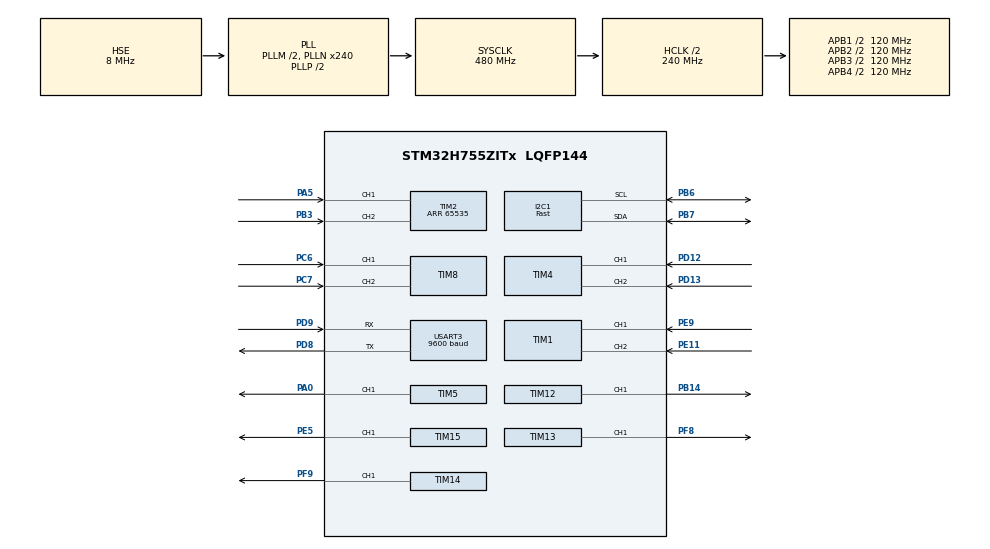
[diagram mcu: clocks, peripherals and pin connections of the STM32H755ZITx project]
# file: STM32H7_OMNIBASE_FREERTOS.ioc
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CortexM4.IPs=BDMA,CORTEX_M4\:I,DMA,FATFS_M4\:I,FREERTOS_M4\:I,GPIO,IWDG2\:I,MDMA,NVIC2\:I,OPENAMP_M4\:I,PDM2PCM_M4\:I,PWR,RCC,RESMGR_UTILITY,SYS_M4\:I,USB_DEVICE_M4\:I,USB_HOST_M4\:I,VREFBUF,WWDG2\:I,TIM7\:I
CortexM7.IPs=BDMA\:I,CORTEX_M7\:I,DMA\:I,FATFS_M7\:I,FREERTOS_M7\:I,GPIO\:I,IWDG1\:I,MDMA\:I,NVIC1\:I,OPENAMP_M7\:I,PDM2PCM_M7\:I,PWR\:I,RCC\:I,RESMGR_UTILITY\:I,SYS\:I,USB_DEVICE_M7\:I,USB_HOST_M7\:I,VREFBUF\:I,WWDG1\:I,USART3\:I,TIM1\:I,TIM2\:I,TIM4\:I,TIM5\:I,TIM8\:I,TIM12\:I,TIM13\:I,TIM14\:I,TIM15\:I,I2C1\:I,TIM6\:I
FREERTOS_M4.Queues01=UART_Rx,4,uint16_t,0,Dynamic,NULL,NULL;PWM_vals,4,uint16_t,0,Dynamic,NULL,NULL
FREERTOS_M4.Tasks01=defaultTask,24,128,StartDefaultTask,Default,NULL,Dynamic,NULL,NULL;Encoders,25,256,StartEncoders,Default,NULL,Dynamic,NULL,NULL;UART3,41,128,StartUART3,Default,NULL,Dynamic,NULL,NULL;PIDs,8,256,StartPIDs,Default,NULL,Dynamic,NULL,NULL;myPWMset,8,256,StartPWMset,Default,NULL,Dynamic,NULL,NULL
FREERTOS_M4.configUSE_NEWLIB_REENTRANT=1
FREERTOS_M7.Mutexes01=MutexUART_Data,Dynamic,NULL,Available
FREERTOS_M7.Queues01=UART_Queue,10,double,0,Dynamic,NULL,NULL
FREERTOS_M7.Tasks01=defaultTask,24,128,StartDefaultTask,Default,NULL,Dynamic,NULL,NULL;UART_RX_Task,40,256,start_UART_RX_Task,Default,NULL,Dynamic,NULL,NULL;UART_TX_Task,24,256,Start_UART_TX_Task,Default,NULL,Dynamic,NULL,NULL;ControlTask,32,256,StartControlTask,Default,NULL,Dynamic,NULL,NULL
FREERTOS_M7.configUSE_NEWLIB_REENTRANT=1
I2C1.I2C_Speed_Mode=I2C_Fast
I2C1.Timing=0x00B03FDB
Mcu.Family=STM32H7
Mcu.Name=STM32H755ZITx
Mcu.Package=LQFP144
NVIC1.PriorityGroup=NVIC_PRIORITYGROUP_4
NVIC1.TIM6_DAC_IRQn=true\:15\:0\:false\:false\:true\:false\:false\:true\:true
NVIC1.TimeBase=TIM6_DAC_IRQn
NVIC1.TimeBaseIP=TIM6
NVIC1.USART3_IRQn=true\:5\:0\:false\:false\:true\:true\:true\:true\:true
NVIC2.PriorityGroup=NVIC_PRIORITYGROUP_4
NVIC2.TIM7_IRQn=true\:15\:0\:false\:false\:true\:false\:false\:true\:true
NVIC2.TimeBase=TIM7_IRQn
NVIC2.TimeBaseIP=TIM7
PA0.PinAttribute=CortexM7
PA0.Signal=S_TIM5_CH1
PA5.PinAttribute=CortexM7
PA5.Signal=S_TIM2_CH1_ETR
PB14.PinAttribute=CortexM7
PB14.Signal=S_TIM12_CH1
PB3\ (JTDO/TRACESWO).PinAttribute=CortexM7
PB3\ (JTDO/TRACESWO).Signal=S_TIM2_CH2
PB6.Mode=I2C
PB6.PinAttribute=CortexM7
PB6.Signal=I2C1_SCL
PB7.Mode=I2C
PB7.PinAttribute=CortexM7
PB7.Signal=I2C1_SDA
PC6.PinAttribute=CortexM7
PC6.Signal=S_TIM8_CH1
PC7.PinAttribute=CortexM7
PC7.Signal=S_TIM8_CH2
PD12.PinAttribute=CortexM7
PD12.Signal=S_TIM4_CH1
PD13.PinAttribute=CortexM7
PD13.Signal=S_TIM4_CH2
PD8.Mode=Asynchronous
PD8.PinAttribute=CortexM7
PD8.Signal=USART3_TX
PD9.Mode=Asynchronous
PD9.PinAttribute=CortexM7
PD9.Signal=USART3_RX
PE11.PinAttribute=CortexM7
PE11.Signal=S_TIM1_CH2
PE5.PinAttribute=CortexM7
PE5.Signal=S_TIM15_CH1
PE9.PinAttribute=CortexM7
PE9.Signal=S_TIM1_CH1
PF8.PinAttribute=CortexM7
PF8.Signal=S_TIM13_CH1
PF9.PinAttribute=CortexM7
PF9.Signal=S_TIM14_CH1
PH0-OSC_IN\ (PH0).Mode=HSE-External-Oscillator
PH0-OSC_IN\ (PH0).PinAttribute=Free
PH0-OSC_IN\ (PH0).Signal=RCC_OSC_IN
PH1-OSC_OUT\ (PH1).Mode=HSE-External-Oscillator
PH1-OSC_OUT\ (PH1).PinAttribute=Free
PH1-OSC_OUT\ (PH1).Signal=RCC_OSC_OUT
ProjectManager.HeapSize=M4-0x200,M7-0x200
ProjectManager.StackSize=M4-0x400,M7-0x400
ProjectManager.TargetToolchain=STM32CubeIDE
RCC.ADCFreq_Value=16125000
RCC.APB1Freq_Value=120000000
RCC.APB2Freq_Value=120000000
RCC.APB3Freq_Value=120000000
RCC.APB4Freq_Value=120000000
RCC.CortexFreq_Value=480000000
RCC.D1PPRE=RCC_APB3_DIV2
RCC.D2PPRE1=RCC_APB1_DIV2
RCC.D2PPRE2=RCC_APB2_DIV2
RCC.D3PPRE=RCC_APB4_DIV2
RCC.DIVM1=2
RCC.DIVN1=240
RCC.HCLKFreq_Value=240000000
RCC.HPRE=RCC_HCLK_DIV2
RCC.HSE_VALUE=8000000
RCC.PLL1_VCI_Range-AdvancedSettings=RCC_PLL1VCIRANGE_0
RCC.PLLSourceVirtual=RCC_PLLSOURCE_HSE
RCC.SYSCLKFreq_VALUE=480000000
RCC.SYSCLKSource=RCC_SYSCLKSOURCE_PLLCLK
RCC.USBFreq_Value=480000000
SH.S_TIM12_CH1.0=TIM12_CH1,PWM Generation1 CH1
SH.S_TIM13_CH1.0=TIM13_CH1,PWM Generation1 CH1
SH.S_TIM14_CH1.0=TIM14_CH1,PWM Generation1 CH1
SH.S_TIM15_CH1.0=TIM15_CH1,PWM Generation1 CH1
SH.S_TIM1_CH1.0=TIM1_CH1,Encoder_Interface
SH.S_TIM1_CH2.0=TIM1_CH2,Encoder_Interface
SH.S_TIM2_CH1_ETR.0=TIM2_CH1,Encoder_Interface
SH.S_TIM2_CH2.0=TIM2_CH2,Encoder_Interface
SH.S_TIM4_CH1.0=TIM4_CH1,Encoder_Interface
SH.S_TIM4_CH2.0=TIM4_CH2,Encoder_Interface
SH.S_TIM5_CH1.0=TIM5_CH1,PWM Generation1 CH1
SH.S_TIM8_CH1.0=TIM8_CH1,Encoder_Interface
SH.S_TIM8_CH2.0=TIM8_CH2,Encoder_Interface
SYS.userName=SYS_M7
TIM1.EncoderMode=TIM_ENCODERMODE_TI12
TIM12.Channel-PWM\ Generation1\ CH1=TIM_CHANNEL_1
TIM12.Period=19999
TIM12.Prescaler=239
TIM13.Channel=TIM_CHANNEL_1
TIM13.Prescaler=239
TIM14.Channel=TIM_CHANNEL_1
TIM14.OCFastMode_PWM=TIM_OCFAST_DISABLE
TIM14.Period=19999
TIM14.Prescaler=239
TIM15.Channel-PWM\ Generation1\ CH1=TIM_CHANNEL_1
TIM15.Period=19999
TIM15.Prescaler=239
TIM2.EncoderMode=TIM_ENCODERMODE_TI12
TIM2.Period=65535
TIM4.EncoderMode=TIM_ENCODERMODE_TI12
TIM5.Channel-PWM\ Generation1\ CH1=TIM_CHANNEL_1
TIM5.Period=19999
TIM5.Prescaler=239
TIM8.EncoderMode=TIM_ENCODERMODE_TI12
USART3.BaudRate=9600
USART3.VirtualMode-Asynchronous=VM_ASYNC
VP_FREERTOS_M4_VS_CMSIS_V2.Mode=CMSIS_V2
VP_FREERTOS_M7_VS_CMSIS_V2.Mode=CMSIS_V2
VP_SYS_M4_VS_tim7.Mode=TIM7
VP_SYS_VS_tim6.Mode=TIM6
VP_TIM12_VS_ClockSourceINT.Mode=Internal
VP_TIM13_VS_ClockSourceINT.Mode=Enable_Timer
VP_TIM14_VS_ClockSourceINT.Mode=Enable_Timer
board=custom

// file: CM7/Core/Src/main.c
/* USER CODE BEGIN Header */
/**
  ******************************************************************************
  * @file           : main.c
  * @brief          : Main program body
  ******************************************************************************
  * @attention
  *
  * Copyright (c) 2025 STMicroelectronics.
  * All rights reserved.
  *
  * This software is licensed under terms that can be found in the LICENSE file
  * in the root directory of this software component.
  * If no LICENSE file comes with this software, it is provided AS-IS.
  *
  ******************************************************************************
  */
/* USER CODE END Header */
#include "main.h"
#include "cmsis_os.h"

/* USER CODE BEGIN Includes */
#include <stdio.h>
#include <stdlib.h>
#include <math.h>
#include "bno055_stm32.h"
#include "uart_rx.h"
#include <string.h>
/* USER CODE END Includes */

/* USER CODE BEGIN PD */

#ifndef HSEM_ID_0
#define HSEM_ID_0 (0U) /* HW semaphore 0*/
#endif

/* USER CODE END PD */

I2C_HandleTypeDef hi2c1;

TIM_HandleTypeDef htim1;
TIM_HandleTypeDef htim2;
TIM_HandleTypeDef htim4;
TIM_HandleTypeDef htim5;
TIM_HandleTypeDef htim8;
TIM_HandleTypeDef htim12;
TIM_HandleTypeDef htim13;
TIM_HandleTypeDef htim14;
TIM_HandleTypeDef htim15;

UART_HandleTypeDef huart3;

/* Definitions for defaultTask */
osThreadId_t defaultTaskHandle;
const osThreadAttr_t defaultTask_attributes = {
  .name = "defaultTask",
  .stack_size = 128 * 1,
  .priority = (osPriority_t) osPriorityNormal,
};
/* Definitions for UART_RX_Task */
osThreadId_t UART_RX_TaskHandle;
const osThreadAttr_t UART_RX_Task_attributes = {
  .name = "UART_RX_Task",
  .stack_size = 256 * 12,
  .priority = (osPriority_t) osPriorityHigh,
};
/* Definitions for UART_TX_Task */
osThreadId_t UART_TX_TaskHandle;
const osThreadAttr_t UART_TX_Task_attributes = {
  .name = "UART_TX_Task",
  .stack_size = 256 * 8,
  .priority = (osPriority_t) osPriorityNormal,
};
/* Definitions for ControlTask */
osThreadId_t ControlTaskHandle;
const osThreadAttr_t ControlTask_attributes = {
  .name = "ControlTask",
  .stack_size = 256 * 20,
  .priority = (osPriority_t) osPriorityAboveNormal,
};
/* Definitions for UART_Queue */
osMessageQueueId_t UART_QueueHandle;
const osMessageQueueAttr_t UART_Queue_attributes = {
  .name = "UART_Queue"
};
/* Definitions for MutexUART_Data */
osMutexId_t MutexUART_DataHandle;
const osMutexAttr_t MutexUART_Data_attributes = {
  .name = "MutexUART_Data"
};
/* USER CODE BEGIN PV */
osMessageQueueId_t CtrlTsk_QueueHandle;
const osMessageQueueAttr_t CtrlTsk_Queue_attributes = {
  .name = "ControlTask_Queue"
};

osMessageQueueId_t UART2CtrlTsk_QueueHandle;
const osMessageQueueAttr_t UART2CtrlTsk_Queue_attributes = {
  .name = "UART2ControlTask_Queue"
};

osMessageQueueId_t UART2KPIDs_QueueHandle;
const osMessageQueueAttr_t UART2KPIDs_Queue_attributes = {
  .name = "UART2KPIDs_Queue"
};

osMessageQueueId_t kpids_UART_TX_QueueHandle;
const osMessageQueueAttr_t kpids_UART_TX_Queue_attributes = {
  .name = "kpids_UART_TX_Queue"
};
/* USER CODE END PV */

void SystemClock_Config(void);
static void MX_GPIO_Init(void);
static void MX_USART3_UART_Init(void);
static void MX_TIM1_Init(void);
static void MX_TIM2_Init(void);
static void MX_TIM4_Init(void);
static void MX_TIM5_Init(void);
static void MX_TIM8_Init(void);
static void MX_TIM12_Init(void);
static void MX_TIM13_Init(void);
static void MX_TIM14_Init(void);
static void MX_TIM15_Init(void);
static void MX_I2C1_Init(void);
void StartDefaultTask(void *argument);
void start_UART_RX_Task(void *argument);
void Start_UART_TX_Task(void *argument);
void StartControlTask(void *argument);

/* USER CODE BEGIN 0 */
int16_t computeDeltaCNT(uint16_t current, uint16_t previous) {
	int16_t delta = (int16_t)(current - previous);
	if (delta > 32767) delta -= 65536;
	else if (delta < -32767) delta += 65536;
	return delta;
}

void setMotorDirection(GPIO_TypeDef *port, uint16_t pin1, uint16_t pin2, uint8_t dir) {
	if (dir < 2) {
		dir ? (port->ODR |= (1 << pin1)) : (port->ODR &= ~(1 << pin1));
		!dir ? (port->ODR |= (1 << pin2)) : (port->ODR &= ~(1 << pin2));
	} else {
		port->ODR &= ~(1 << pin1);
		port->ODR &= ~(1 << pin2);
	}
}

int computeNecessaryWheelSpeeds(double phi, double d, double r, double u[4], double phi_dot, double y_dot, double x_dot) {
	u[0] = (d * phi_dot + y_dot * cos(phi) - x_dot * sin(phi)) / r;
    u[1] = (d * phi_dot - x_dot * cos(phi) - y_dot * sin(phi)) / r;
    u[2] = (d * phi_dot - y_dot * cos(phi) + x_dot * sin(phi)) / r;
    u[3] = (d * phi_dot + x_dot * cos(phi) + y_dot * sin(phi)) / r;

    return 0;
}

int globalSpeedsFromU(double phi, double d, double r, double u[4], double q_dot[3]) {
    q_dot[0] = (u[0] + u[1] + u[2] + u[3]) / (4 * d); // Angular velocity
    q_dot[1] = -cos(phi)*((u[1] - u[3])/2) - sin(phi)*((u[0] - u[2])/2); // X velocity
    q_dot[2] = cos(phi)*((u[0] - u[2])/2) - sin(phi)*((u[1] - u[3])/2); // Y velocity

    return 0;
}

//double checkFloatRx( uint8_t floatRx[], uint8_t floatRx_size){
//	double receivedFloat = 0;
//	float pi = 3.141592;
//
//	if (floatRx[0] == 'p' && floatRx[1] == 'i'){
//		receivedFloat = pi;
//	}
//	for (int i = 0; i < floatRx_size; i++) {
//
//	}
//}

//const float tau = 0.05f;
//float alpha = dt / (tau + dt);
//filteredSpeed = alpha * measuredSpeed + (1.0f - alpha) * filteredSpeed;

/* USER CODE END 0 */

int main(void)
{

/* USER CODE BEGIN Boot_Mode_Sequence_0 */
  int32_t timeout;
/* USER CODE END Boot_Mode_Sequence_0 */

/* USER CODE BEGIN Boot_Mode_Sequence_1 */
  /* Wait until CPU2 boots and enters in stop mode or timeout*/
  timeout = 0xFFFF;
  while((__HAL_RCC_GET_FLAG(RCC_FLAG_D2CKRDY) != RESET) && (timeout-- > 0));
  if ( timeout < 0 )
  {
  Error_Handler();
  }
/* USER CODE END Boot_Mode_Sequence_1 */
  /* MCU Configuration--------------------------------------------------------*/

  /* Reset of all peripherals, Initializes the Flash interface and the Systick. */
  HAL_Init();

  /* USER CODE BEGIN Init */
  setvbuf(stdin, NULL, _IONBF, 0);
  /* USER CODE END Init */

  /* Configure the system clock */
  SystemClock_Config();
/* USER CODE BEGIN Boot_Mode_Sequence_2 */
/* When system initialization is finished, Cortex-M7 will release Cortex-M4 by means of
HSEM notification */
/*HW semaphore Clock enable*/
__HAL_RCC_HSEM_CLK_ENABLE();
/*Take HSEM */
HAL_HSEM_FastTake(HSEM_ID_0);
/*Release HSEM in order to notify the CPU2(CM4)*/
HAL_HSEM_Release(HSEM_ID_0,0);
/* wait until CPU2 wakes up from stop mode */
timeout = 0xFFFF;
while((__HAL_RCC_GET_FLAG(RCC_FLAG_D2CKRDY) == RESET) && (timeout-- > 0));
if ( timeout < 0 )
{
Error_Handler();
}
/* USER CODE END Boot_Mode_Sequence_2 */

  /* Initialize all configured peripherals */
  MX_GPIO_Init();
  MX_USART3_UART_Init();
  MX_TIM1_Init();
  MX_TIM2_Init();
  MX_TIM4_Init();
  MX_TIM5_Init();
  MX_TIM8_Init();
  MX_TIM12_Init();
  MX_TIM13_Init();
  MX_TIM14_Init();
  MX_TIM15_Init();
  MX_I2C1_Init();
  /* USER CODE BEGIN 2 */

  uint8_t allOK = 1;
  if (HAL_TIM_Encoder_Start(&htim1, TIM_CHANNEL_ALL) != HAL_OK) {
  	  printf("tim1 fail\n\r");
  	  allOK = 0;
  }
  if (HAL_TIM_Encoder_Start_IT(&htim2, TIM_CHANNEL_ALL) != HAL_OK) {
	  printf("tim2 fail\n\r");
	  allOK = 0;
  }
  if (HAL_TIM_Encoder_Start_IT(&htim4, TIM_CHANNEL_ALL) != HAL_OK) {
	  printf("tim4 fail\n\r");
	  allOK = 0;
  }
  if (HAL_TIM_Encoder_Start(&htim8, TIM_CHANNEL_ALL) != HAL_OK) {
	  printf("tim8 fail\n\r");
	  allOK = 0;
  }

  if (HAL_TIM_PWM_Start(&htim5, TIM_CHANNEL_1) != HAL_OK)
  {
  	  printf("tim5 fail\r\n");
  	  allOK = 0;
  	  Error_Handler();
  }

  if (HAL_TIM_PWM_Start(&htim12, TIM_CHANNEL_1) != HAL_OK)
  {
  	  printf("tim12 fail\r\n");
  	  allOK = 0;
  	  Error_Handler();
  }
  if (HAL_TIM_PWM_Start(&htim14, TIM_CHANNEL_1) != HAL_OK)
  {
      printf("tim14 fail\r\n");
      allOK = 0;
  	  Error_Handler();
  }
  if (HAL_TIM_PWM_Start(&htim15, TIM_CHANNEL_1) != HAL_OK)
  {
  	  printf("tim3 fail\r\n");
  	  allOK = 0;
  	  Error_Handler();
  }

  if (!allOK) {
	  printf(" El diablo \r\n\n\n\n\n\n\n");
//  } else {
//	  printf("TODO BN\r\n");
  }

  /* USER CODE END 2 */

  /* Init scheduler */
  osKernelInitialize();
  /* Create the mutex(es) */
  /* creation of MutexUART_Data */
  MutexUART_DataHandle = osMutexNew(&MutexUART_Data_attributes);

  /* Create the queue(s) */
  /* creation of UART_Queue */

  /* USER CODE BEGIN RTOS_QUEUES */
  /* add queues, ... */
  UART_QueueHandle = osMessageQueueNew (3, sizeof(InputData), &UART_Queue_attributes);
  UART2CtrlTsk_QueueHandle = osMessageQueueNew (3, sizeof(InputData), &UART2CtrlTsk_Queue_attributes);
  CtrlTsk_QueueHandle = osMessageQueueNew (3, sizeof(CtrlTsk_Data), &CtrlTsk_Queue_attributes);
  UART2KPIDs_QueueHandle = osMessageQueueNew (3, sizeof(PIDConfig), &UART2KPIDs_Queue_attributes);
  kpids_UART_TX_QueueHandle = osMessageQueueNew (3, sizeof(PIDConfig), &kpids_UART_TX_Queue_attributes);
  /* USER CODE END RTOS_QUEUES */

  /* Create the thread(s) */
  /* creation of defaultTask */
  defaultTaskHandle = osThreadNew(StartDefaultTask, NULL, &defaultTask_attributes);

  /* creation of UART_RX_Task */
  UART_RX_TaskHandle = osThreadNew(start_UART_RX_Task, NULL, &UART_RX_Task_attributes);

  /* creation of UART_TX_Task */
  UART_TX_TaskHandle = osThreadNew(Start_UART_TX_Task, NULL, &UART_TX_Task_attributes);

  /* creation of ControlTask */
  ControlTaskHandle = osThreadNew(StartControlTask, NULL, &ControlTask_attributes);

  /* Start scheduler */
  osKernelStart();

  /* We should never get here as control is now taken by the scheduler */

  /* Infinite loop */
  while (1)
  {

  }
}

void SystemClock_Config(void)
{
  RCC_OscInitTypeDef RCC_OscInitStruct = {0};
  RCC_ClkInitTypeDef RCC_ClkInitStruct = {0};

  /** Supply configuration update enable
  */
  HAL_PWREx_ConfigSupply(PWR_DIRECT_SMPS_SUPPLY);

  /** Configure the main internal regulator output voltage
  */
  __HAL_PWR_VOLTAGESCALING_CONFIG(PWR_REGULATOR_VOLTAGE_SCALE1);

  while(!__HAL_PWR_GET_FLAG(PWR_FLAG_VOSRDY)) {}

  __HAL_RCC_SYSCFG_CLK_ENABLE();
  __HAL_PWR_VOLTAGESCALING_CONFIG(PWR_REGULATOR_VOLTAGE_SCALE0);

  while(!__HAL_PWR_GET_FLAG(PWR_FLAG_VOSRDY)) {}

  /** Initializes the RCC Oscillators according to the specified parameters
  * in the RCC_OscInitTypeDef structure.
  */
  RCC_OscInitStruct.OscillatorType = RCC_OSCILLATORTYPE_HSE;
  RCC_OscInitStruct.HSEState = RCC_HSE_ON;
  RCC_OscInitStruct.PLL.PLLState = RCC_PLL_ON;
  RCC_OscInitStruct.PLL.PLLSource = RCC_PLLSOURCE_HSE;
  RCC_OscInitStruct.PLL.PLLM = 2;
  RCC_OscInitStruct.PLL.PLLN = 240;
  RCC_OscInitStruct.PLL.PLLP = 2;
  RCC_OscInitStruct.PLL.PLLQ = 2;
  RCC_OscInitStruct.PLL.PLLR = 2;
  RCC_OscInitStruct.PLL.PLLRGE = RCC_PLL1VCIRANGE_2;
  RCC_OscInitStruct.PLL.PLLVCOSEL = RCC_PLL1VCOWIDE;
  RCC_OscInitStruct.PLL.PLLFRACN = 0;
  if (HAL_RCC_OscConfig(&RCC_OscInitStruct) != HAL_OK)
  {
    Error_Handler();
  }

  /** Initializes the CPU, AHB and APB buses clocks
  */
  RCC_ClkInitStruct.ClockType = RCC_CLOCKTYPE_HCLK|RCC_CLOCKTYPE_SYSCLK
                              |RCC_CLOCKTYPE_PCLK1|RCC_CLOCKTYPE_PCLK2
                              |RCC_CLOCKTYPE_D3PCLK1|RCC_CLOCKTYPE_D1PCLK1;
  RCC_ClkInitStruct.SYSCLKSource = RCC_SYSCLKSOURCE_PLLCLK;
  RCC_ClkInitStruct.SYSCLKDivider = RCC_SYSCLK_DIV1;
  RCC_ClkInitStruct.AHBCLKDivider = RCC_HCLK_DIV2;
  RCC_ClkInitStruct.APB3CLKDivider = RCC_APB3_DIV2;
  RCC_ClkInitStruct.APB1CLKDivider = RCC_APB1_DIV2;
  RCC_ClkInitStruct.APB2CLKDivider = RCC_APB2_DIV2;
  RCC_ClkInitStruct.APB4CLKDivider = RCC_APB4_DIV2;

  if (HAL_RCC_ClockConfig(&RCC_ClkInitStruct, FLASH_LATENCY_4) != HAL_OK)
  {
    Error_Handler();
  }
}

static void MX_I2C1_Init(void)
{

  hi2c1.Instance = I2C1;
  hi2c1.Init.Timing = 0x00B03FDB;
  hi2c1.Init.OwnAddress1 = 0;
  hi2c1.Init.AddressingMode = I2C_ADDRESSINGMODE_7BIT;
  hi2c1.Init.DualAddressMode = I2C_DUALADDRESS_DISABLE;
  hi2c1.Init.OwnAddress2 = 0;
  hi2c1.Init.OwnAddress2Masks = I2C_OA2_NOMASK;
  hi2c1.Init.GeneralCallMode = I2C_GENERALCALL_DISABLE;
  hi2c1.Init.NoStretchMode = I2C_NOSTRETCH_DISABLE;
  if (HAL_I2C_Init(&hi2c1) != HAL_OK)
  {
    Error_Handler();
  }

  /** Configure Analogue filter
  */
  if (HAL_I2CEx_ConfigAnalogFilter(&hi2c1, I2C_ANALOGFILTER_ENABLE) != HAL_OK)
  {
    Error_Handler();
  }

  /** Configure Digital filter
  */
  if (HAL_I2CEx_ConfigDigitalFilter(&hi2c1, 0) != HAL_OK)
  {
    Error_Handler();
  }

}

static void MX_TIM1_Init(void)
{

  TIM_Encoder_InitTypeDef sConfig = {0};
  TIM_MasterConfigTypeDef sMasterConfig = {0};

  htim1.Instance = TIM1;
  htim1.Init.Prescaler = 0;
  htim1.Init.CounterMode = TIM_COUNTERMODE_UP;
  htim1.Init.Period = 65535;
  htim1.Init.ClockDivision = TIM_CLOCKDIVISION_DIV1;
  htim1.Init.RepetitionCounter = 0;
  htim1.Init.AutoReloadPreload = TIM_AUTORELOAD_PRELOAD_DISABLE;
  sConfig.EncoderMode = TIM_ENCODERMODE_TI12;
  sConfig.IC1Polarity = TIM_ICPOLARITY_RISING;
  sConfig.IC1Selection = TIM_ICSELECTION_DIRECTTI;
  sConfig.IC1Prescaler = TIM_ICPSC_DIV1;
  sConfig.IC1Filter = 0;
  sConfig.IC2Polarity = TIM_ICPOLARITY_RISING;
  sConfig.IC2Selection = TIM_ICSELECTION_DIRECTTI;
  sConfig.IC2Prescaler = TIM_ICPSC_DIV1;
  sConfig.IC2Filter = 0;
  if (HAL_TIM_Encoder_Init(&htim1, &sConfig) != HAL_OK)
  {
    Error_Handler();
  }
  sMasterConfig.MasterOutputTrigger = TIM_TRGO_RESET;
  sMasterConfig.MasterOutputTrigger2 = TIM_TRGO2_RESET;
  sMasterConfig.MasterSlaveMode = TIM_MASTERSLAVEMODE_DISABLE;
  if (HAL_TIMEx_MasterConfigSynchronization(&htim1, &sMasterConfig) != HAL_OK)
  {
    Error_Handler();
  }

}

static void MX_TIM2_Init(void)
{

  TIM_Encoder_InitTypeDef sConfig = {0};
  TIM_MasterConfigTypeDef sMasterConfig = {0};

  htim2.Instance = TIM2;
  htim2.Init.Prescaler = 0;
  htim2.Init.CounterMode = TIM_COUNTERMODE_UP;
  htim2.Init.Period = 65535;
  htim2.Init.ClockDivision = TIM_CLOCKDIVISION_DIV1;
  htim2.Init.AutoReloadPreload = TIM_AUTORELOAD_PRELOAD_DISABLE;
  sConfig.EncoderMode = TIM_ENCODERMODE_TI12;
  sConfig.IC1Polarity = TIM_ICPOLARITY_RISING;
  sConfig.IC1Selection = TIM_ICSELECTION_DIRECTTI;
  sConfig.IC1Prescaler = TIM_ICPSC_DIV1;
  sConfig.IC1Filter = 0;
  sConfig.IC2Polarity = TIM_ICPOLARITY_RISING;
  sConfig.IC2Selection = TIM_ICSELECTION_DIRECTTI;
  sConfig.IC2Prescaler = TIM_ICPSC_DIV1;
  sConfig.IC2Filter = 0;
  if (HAL_TIM_Encoder_Init(&htim2, &sConfig) != HAL_OK)
  {
    Error_Handler();
  }
  sMasterConfig.MasterOutputTrigger = TIM_TRGO_RESET;
  sMasterConfig.MasterSlaveMode = TIM_MASTERSLAVEMODE_DISABLE;
  if (HAL_TIMEx_MasterConfigSynchronization(&htim2, &sMasterConfig) != HAL_OK)
  {
    Error_Handler();
  }

}

static void MX_TIM4_Init(void)
{

  TIM_Encoder_InitTypeDef sConfig = {0};
  TIM_MasterConfigTypeDef sMasterConfig = {0};

  htim4.Instance = TIM4;
  htim4.Init.Prescaler = 0;
  htim4.Init.CounterMode = TIM_COUNTERMODE_UP;
  htim4.Init.Period = 65535;
  htim4.Init.ClockDivision = TIM_CLOCKDIVISION_DIV1;
  htim4.Init.AutoReloadPreload = TIM_AUTORELOAD_PRELOAD_DISABLE;
  sConfig.EncoderMode = TIM_ENCODERMODE_TI12;
  sConfig.IC1Polarity = TIM_ICPOLARITY_RISING;
  sConfig.IC1Selection = TIM_ICSELECTION_DIRECTTI;
  sConfig.IC1Prescaler = TIM_ICPSC_DIV1;
  sConfig.IC1Filter = 0;
  sConfig.IC2Polarity = TIM_ICPOLARITY_RISING;
  sConfig.IC2Selection = TIM_ICSELECTION_DIRECTTI;
  sConfig.IC2Prescaler = TIM_ICPSC_DIV1;
  sConfig.IC2Filter = 0;
  if (HAL_TIM_Encoder_Init(&htim4, &sConfig) != HAL_OK)
  {
    Error_Handler();
  }
  sMasterConfig.MasterOutputTrigger = TIM_TRGO_RESET;
  sMasterConfig.MasterSlaveMode = TIM_MASTERSLAVEMODE_DISABLE;
  if (HAL_TIMEx_MasterConfigSynchronization(&htim4, &sMasterConfig) != HAL_OK)
  {
    Error_Handler();
  }

}

static void MX_TIM5_Init(void)
{

  TIM_MasterConfigTypeDef sMasterConfig = {0};
  TIM_OC_InitTypeDef sConfigOC = {0};

  htim5.Instance = TIM5;
  htim5.Init.Prescaler = 239;
  htim5.Init.CounterMode = TIM_COUNTERMODE_UP;
  htim5.Init.Period = 19999;
  htim5.Init.ClockDivision = TIM_CLOCKDIVISION_DIV1;
  htim5.Init.AutoReloadPreload = TIM_AUTORELOAD_PRELOAD_DISABLE;
  if (HAL_TIM_PWM_Init(&htim5) != HAL_OK)
  {
    Error_Handler();
  }
  sMasterConfig.MasterOutputTrigger = TIM_TRGO_RESET;
  sMasterConfig.MasterSlaveMode = TIM_MASTERSLAVEMODE_DISABLE;
  if (HAL_TIMEx_MasterConfigSynchronization(&htim5, &sMasterConfig) != HAL_OK)
  {
    Error_Handler();
  }
  sConfigOC.OCMode = TIM_OCMODE_PWM1;
  sConfigOC.Pulse = 0;
  sConfigOC.OCPolarity = TIM_OCPOLARITY_HIGH;
  sConfigOC.OCFastMode = TIM_OCFAST_DISABLE;
  if (HAL_TIM_PWM_ConfigChannel(&htim5, &sConfigOC, TIM_CHANNEL_1) != HAL_OK)
  {
    Error_Handler();
  }
  HAL_TIM_MspPostInit(&htim5);

}

static void MX_TIM8_Init(void)
{

  TIM_Encoder_InitTypeDef sConfig = {0};
  TIM_MasterConfigTypeDef sMasterConfig = {0};

  htim8.Instance = TIM8;
  htim8.Init.Prescaler = 0;
  htim8.Init.CounterMode = TIM_COUNTERMODE_UP;
  htim8.Init.Period = 65535;
  htim8.Init.ClockDivision = TIM_CLOCKDIVISION_DIV1;
  htim8.Init.RepetitionCounter = 0;
  htim8.Init.AutoReloadPreload = TIM_AUTORELOAD_PRELOAD_DISABLE;
  sConfig.EncoderMode = TIM_ENCODERMODE_TI12;
  sConfig.IC1Polarity = TIM_ICPOLARITY_RISING;
  sConfig.IC1Selection = TIM_ICSELECTION_DIRECTTI;
  sConfig.IC1Prescaler = TIM_ICPSC_DIV1;
  sConfig.IC1Filter = 0;
  sConfig.IC2Polarity = TIM_ICPOLARITY_RISING;
  sConfig.IC2Selection = TIM_ICSELECTION_DIRECTTI;
  sConfig.IC2Prescaler = TIM_ICPSC_DIV1;
  sConfig.IC2Filter = 0;
  if (HAL_TIM_Encoder_Init(&htim8, &sConfig) != HAL_OK)
  {
    Error_Handler();
  }
  sMasterConfig.MasterOutputTrigger = TIM_TRGO_RESET;
  sMasterConfig.MasterOutputTrigger2 = TIM_TRGO2_RESET;
  sMasterConfig.MasterSlaveMode = TIM_MASTERSLAVEMODE_DISABLE;
  if (HAL_TIMEx_MasterConfigSynchronization(&htim8, &sMasterConfig) != HAL_OK)
  {
    Error_Handler();
  }

}

static void MX_TIM12_Init(void)
{

  TIM_ClockConfigTypeDef sClockSourceConfig = {0};
  TIM_MasterConfigTypeDef sMasterConfig = {0};
  TIM_OC_InitTypeDef sConfigOC = {0};

  htim12.Instance = TIM12;
  htim12.Init.Prescaler = 239;
  htim12.Init.CounterMode = TIM_COUNTERMODE_UP;
  htim12.Init.Period = 19999;
  htim12.Init.ClockDivision = TIM_CLOCKDIVISION_DIV1;
  htim12.Init.AutoReloadPreload = TIM_AUTORELOAD_PRELOAD_DISABLE;
  if (HAL_TIM_Base_Init(&htim12) != HAL_OK)
  {
    Error_Handler();
  }
  sClockSourceConfig.ClockSource = TIM_CLOCKSOURCE_INTERNAL;
  if (HAL_TIM_ConfigClockSource(&htim12, &sClockSourceConfig) != HAL_OK)
  {
    Error_Handler();
  }
  if (HAL_TIM_PWM_Init(&htim12) != HAL_OK)
  {
    Error_Handler();
  }
  sMasterConfig.MasterOutputTrigger = TIM_TRGO_RESET;
  sMasterConfig.MasterSlaveMode = TIM_MASTERSLAVEMODE_DISABLE;
  if (HAL_TIMEx_MasterConfigSynchronization(&htim12, &sMasterConfig) != HAL_OK)
  {
    Error_Handler();
  }
  sConfigOC.OCMode = TIM_OCMODE_PWM1;
  sConfigOC.Pulse = 0;
  sConfigOC.OCPolarity = TIM_OCPOLARITY_HIGH;
  sConfigOC.OCFastMode = TIM_OCFAST_DISABLE;
  if (HAL_TIM_PWM_ConfigChannel(&htim12, &sConfigOC, TIM_CHANNEL_1) != HAL_OK)
  {
    Error_Handler();
  }
  HAL_TIM_MspPostInit(&htim12);

}

static void MX_TIM13_Init(void)
{

  TIM_OC_InitTypeDef sConfigOC = {0};

  htim13.Instance = TIM13;
  htim13.Init.Prescaler = 239;
  htim13.Init.CounterMode = TIM_COUNTERMODE_UP;
  htim13.Init.Period = 65535;
  htim13.Init.ClockDivision = TIM_CLOCKDIVISION_DIV1;
  htim13.Init.AutoReloadPreload = TIM_AUTORELOAD_PRELOAD_DISABLE;
  if (HAL_TIM_Base_Init(&htim13) != HAL_OK)
  {
    Error_Handler();
  }
  if (HAL_TIM_PWM_Init(&htim13) != HAL_OK)
  {
    Error_Handler();
  }
  sConfigOC.OCMode = TIM_OCMODE_PWM1;
  sConfigOC.Pulse = 0;
  sConfigOC.OCPolarity = TIM_OCPOLARITY_HIGH;
  sConfigOC.OCFastMode = TIM_OCFAST_DISABLE;
  if (HAL_TIM_PWM_ConfigChannel(&htim13, &sConfigOC, TIM_CHANNEL_1) != HAL_OK)
  {
    Error_Handler();
  }
  HAL_TIM_MspPostInit(&htim13);

}

static void MX_TIM14_Init(void)
{

  TIM_OC_InitTypeDef sConfigOC = {0};

  htim14.Instance = TIM14;
  htim14.Init.Prescaler = 239;
  htim14.Init.CounterMode = TIM_COUNTERMODE_UP;
  htim14.Init.Period = 19999;
  htim14.Init.ClockDivision = TIM_CLOCKDIVISION_DIV1;
  htim14.Init.AutoReloadPreload = TIM_AUTORELOAD_PRELOAD_DISABLE;
  if (HAL_TIM_Base_Init(&htim14) != HAL_OK)
  {
    Error_Handler();
  }
  if (HAL_TIM_PWM_Init(&htim14) != HAL_OK)
  {
    Error_Handler();
  }
  sConfigOC.OCMode = TIM_OCMODE_PWM1;
  sConfigOC.Pulse = 0;
  sConfigOC.OCPolarity = TIM_OCPOLARITY_HIGH;
  sConfigOC.OCFastMode = TIM_OCFAST_DISABLE;
  if (HAL_TIM_PWM_ConfigChannel(&htim14, &sConfigOC, TIM_CHANNEL_1) != HAL_OK)
  {
    Error_Handler();
  }
  HAL_TIM_MspPostInit(&htim14);

}

static void MX_TIM15_Init(void)
{

  TIM_MasterConfigTypeDef sMasterConfig = {0};
  TIM_OC_InitTypeDef sConfigOC = {0};
  TIM_BreakDeadTimeConfigTypeDef sBreakDeadTimeConfig = {0};

  htim15.Instance = TIM15;
  htim15.Init.Prescaler = 239;
  htim15.Init.CounterMode = TIM_COUNTERMODE_UP;
  htim15.Init.Period = 19999;
  htim15.Init.ClockDivision = TIM_CLOCKDIVISION_DIV1;
  htim15.Init.RepetitionCounter = 0;
  htim15.Init.AutoReloadPreload = TIM_AUTORELOAD_PRELOAD_DISABLE;
  if (HAL_TIM_PWM_Init(&htim15) != HAL_OK)
  {
    Error_Handler();
  }
  sMasterConfig.MasterOutputTrigger = TIM_TRGO_RESET;
  sMasterConfig.MasterSlaveMode = TIM_MASTERSLAVEMODE_DISABLE;
  if (HAL_TIMEx_MasterConfigSynchronization(&htim15, &sMasterConfig) != HAL_OK)
  {
    Error_Handler();
  }
  sConfigOC.OCMode = TIM_OCMODE_PWM1;
  sConfigOC.Pulse = 0;
  sConfigOC.OCPolarity = TIM_OCPOLARITY_HIGH;
  sConfigOC.OCNPolarity = TIM_OCNPOLARITY_HIGH;
  sConfigOC.OCFastMode = TIM_OCFAST_DISABLE;
  sConfigOC.OCIdleState = TIM_OCIDLESTATE_RESET;
  sConfigOC.OCNIdleState = TIM_OCNIDLESTATE_RESET;
  if (HAL_TIM_PWM_ConfigChannel(&htim15, &sConfigOC, TIM_CHANNEL_1) != HAL_OK)
  {
    Error_Handler();
  }
  sBreakDeadTimeConfig.OffStateRunMode = TIM_OSSR_DISABLE;
  sBreakDeadTimeConfig.OffStateIDLEMode = TIM_OSSI_DISABLE;
  sBreakDeadTimeConfig.LockLevel = TIM_LOCKLEVEL_OFF;
  sBreakDeadTimeConfig.DeadTime = 0;
  sBreakDeadTimeConfig.BreakState = TIM_BREAK_DISABLE;
  sBreakDeadTimeConfig.BreakPolarity = TIM_BREAKPOLARITY_HIGH;
  sBreakDeadTimeConfig.BreakFilter = 0;
  sBreakDeadTimeConfig.AutomaticOutput = TIM_AUTOMATICOUTPUT_DISABLE;
  if (HAL_TIMEx_ConfigBreakDeadTime(&htim15, &sBreakDeadTimeConfig) != HAL_OK)
  {
    Error_Handler();
  }
  HAL_TIM_MspPostInit(&htim15);

}

static void MX_USART3_UART_Init(void)
{

  huart3.Instance = USART3;
  huart3.Init.BaudRate = 115200;
  huart3.Init.WordLength = UART_WORDLENGTH_8B;
  huart3.Init.StopBits = UART_STOPBITS_1;
  huart3.Init.Parity = UART_PARITY_NONE;
  huart3.Init.Mode = UART_MODE_TX_RX;
  huart3.Init.HwFlowCtl = UART_HWCONTROL_NONE;
  huart3.Init.OverSampling = UART_OVERSAMPLING_16;
  huart3.Init.OneBitSampling = UART_ONE_BIT_SAMPLE_DISABLE;
  huart3.Init.ClockPrescaler = UART_PRESCALER_DIV1;
  huart3.AdvancedInit.AdvFeatureInit = UART_ADVFEATURE_NO_INIT;
  if (HAL_UART_Init(&huart3) != HAL_OK)
  {
    Error_Handler();
  }
  if (HAL_UARTEx_SetTxFifoThreshold(&huart3, UART_TXFIFO_THRESHOLD_1_8) != HAL_OK)
  {
    Error_Handler();
  }
  if (HAL_UARTEx_SetRxFifoThreshold(&huart3, UART_RXFIFO_THRESHOLD_1_8) != HAL_OK)
  {
    Error_Handler();
  }
  if (HAL_UARTEx_DisableFifoMode(&huart3) != HAL_OK)
  {
    Error_Handler();
  }

}

static void MX_GPIO_Init(void)
{
/* USER CODE BEGIN MX_GPIO_Init_1 */
   GPIO_InitTypeDef GPIO_InitStruct = {0};
/* USER CODE END MX_GPIO_Init_1 */

  /* GPIO Ports Clock Enable */
  __HAL_RCC_GPIOE_CLK_ENABLE();
  __HAL_RCC_GPIOF_CLK_ENABLE();
  __HAL_RCC_GPIOA_CLK_ENABLE();
  __HAL_RCC_GPIOB_CLK_ENABLE();
  __HAL_RCC_GPIOD_CLK_ENABLE();
  __HAL_RCC_GPIOC_CLK_ENABLE();

/* USER CODE BEGIN MX_GPIO_Init_2 */

   /*Configure GPIO pin Output Level */
   HAL_GPIO_WritePin(GPIOD, PD4_Pin|PD5_Pin|PD6_Pin|PD7_Pin, GPIO_PIN_RESET);
   HAL_GPIO_WritePin(GPIOE, PE2_Pin|PE4_Pin|PE3_Pin|PE6_Pin, GPIO_PIN_RESET);

   // Declare IN1, IN2, IN3 IN4 of H Bridge, in that order
   GPIO_InitStruct.Pin = PD4_Pin|PD5_Pin|PD6_Pin|PD7_Pin;
   GPIO_InitStruct.Mode = GPIO_MODE_OUTPUT_PP;
   GPIO_InitStruct.Pull = GPIO_NOPULL;
   GPIO_InitStruct.Speed = GPIO_SPEED_FREQ_HIGH;
   HAL_GPIO_Init(GPIOD, &GPIO_InitStruct);

   // Declare IN1, IN2, IN3 IN4 of H Bridge, in that order
   GPIO_InitStruct.Pin = PE2_Pin|PE4_Pin|PE3_Pin|PE6_Pin;
   GPIO_InitStruct.Mode = GPIO_MODE_OUTPUT_PP;
   GPIO_InitStruct.Pull = GPIO_NOPULL;
   GPIO_InitStruct.Speed = GPIO_SPEED_FREQ_HIGH;
   HAL_GPIO_Init(GPIOE, &GPIO_InitStruct);

//   GPIOD->ODR ^= (0x1UL << 4U);
//   GPIOD->ODR ^= (0x1UL << 5U);
//   GPIOD->ODR ^= (0x1UL << 6U);
//   GPIOD->ODR ^= (0x1UL << 7U);
//
//   GPIOE->ODR ^= (0x1UL << 2U);
//   GPIOE->ODR ^= (0x1UL << 3U);
//   GPIOE->ODR ^= (0x1UL << 4U);
//   GPIOE->ODR ^= (0x1UL << 6U);

/* USER CODE END MX_GPIO_Init_2 */
}

void StartDefaultTask(void *argument)
{
  for(;;)
  {
    osDelay(1);
  }
}

/* USER CODE BEGIN Header_start_UART_RX_Task */

/**
* @brief Function implementing the UART_RX_Task thread.
* @param argument: Not used
* @retval None
*/

/* RECEIVED FUNCTION */
void HAL_UART_RxCpltCallback(UART_HandleTypeDef *huart)
{
    if (huart->Instance == USART3) {
        // Store received char in ring buffer
        rx_buf[rx_tail] = rx_char;
        rx_tail = (rx_tail + 1) % RX_BUF_SIZE;

        // Re-arm UART to receive next char
        HAL_UART_Receive_IT(huart, &rx_char, 1);
    }
}

#define RX_BUF_SIZE 256
static uint8_t rx_buf[RX_BUF_SIZE];   // Ring buffer storage
static volatile size_t rx_head = 0;
static volatile size_t rx_tail = 0;
static uint8_t rx_char;               // Temporary char buffer
/* USER CODE END Header_start_UART_RX_Task */

void start_UART_RX_Task(void *argument)
{
	/* USER CODE BEGIN start_UART_RX_Task */

	char line_buf[RX_BUF_SIZE] = {0};
	uint16_t line_index = 0;
	InputData data = {0,0,0,1,1};
	PIDConfig kpids = {
		.x_pid = {0.0f, 0.0f, 0.0f},
		.y_pid = {0.0f, 0.0f, 0.0f},
		.phi_pid = {0.0f, 0.0f, 0.0f},
		.u_pid = {
			{0.0f, 0.0f, 0.0f},
			{0.0f, 0.0f, 0.0f},
			{0.0f, 0.0f, 0.0f},
			{0.0f, 0.0f, 0.0f}
		}
	};

	// Start the first interrupt reception
	HAL_UART_Receive_IT(&huart3, &rx_char, 1);
	/* Infinite loop */
	for (;;) {
//		printf("alive2\r\n");
		// Check if data is available
		while (rx_head != rx_tail) {
			uint8_t byte = rx_buf[rx_head];
			rx_head = (rx_head + 1) % RX_BUF_SIZE;

			// End of line detected
			if (byte == '\n' || byte == '\r') {
				if (line_index > 0) {
					line_buf[line_index] = '\0'; // Null-terminate
//					printf("📥 Full line received: \"%s\"\r\n", line_buf);

					// Optional: parse float data
					if (sscanf(line_buf, "%lf %lf %lf %lf %lf %f %f %f %f %f %f %f %f %f %f %f %f %f %f %f %f %f %f %f %f %f %f %f %f %f",
					           &data.x_desired, &data.y_desired,
					           &data.phi_end, &data.d, &data.r,
							   &data.u1_desired, &data.u2_desired, &data.u3_desired, &data.u4_desired,
					           &kpids.x_pid.Kp, &kpids.x_pid.Ki, &kpids.x_pid.Kd,
					           &kpids.y_pid.Kp, &kpids.y_pid.Ki, &kpids.y_pid.Kd,
					           &kpids.phi_pid.Kp, &kpids.phi_pid.Ki, &kpids.phi_pid.Kd,
					           &kpids.u_pid[0].Kp, &kpids.u_pid[0].Ki, &kpids.u_pid[0].Kd,
							   &kpids.u_pid[1].Kp, &kpids.u_pid[1].Ki, &kpids.u_pid[1].Kd,
							   &kpids.u_pid[2].Kp, &kpids.u_pid[2].Ki, &kpids.u_pid[2].Kd,
							   &kpids.u_pid[3].Kp, &kpids.u_pid[3].Ki, &kpids.u_pid[3].Kd) == 30)
					{

						osMessageQueuePut(UART2KPIDs_QueueHandle, &kpids, 0, 0);
						osMessageQueuePut(kpids_UART_TX_QueueHandle, &kpids, 0, 0);
						osMessageQueuePut(UART_QueueHandle, &data, 0, 0);
						osMessageQueuePut(UART2CtrlTsk_QueueHandle, &data, 0, 0);
//						printf("✅ Parsed: x=%.2f y=%.2f phi=%.2f d=%.2f r=%.2f\r\n",
//							   data.x_desired, data.y_desired, data.phi_end, data.d, data.r);
					} else {
						printf("❌ Failed to parse: \"%s\"\r\n", line_buf);
					}
				}
				line_index = 0;
				memset(line_buf, 0, sizeof(line_buf));
			}
			else if (line_index < RX_BUF_SIZE - 1) {
				line_buf[line_index++] = byte;
			} else {
				// Overflow safety
				line_index = 0;
				memset(line_buf, 0, sizeof(line_buf));
				printf("⚠️ Line buffer overflowed and reset.\r\n");
			}
		}

		osDelay(5); // Cooperative multitasking
	}

	/* USER CODE END start_UART_RX_Task */

}

void Start_UART_TX_Task(void *argument)
{
  /* USER CODE BEGIN Start_UART_TX_Task */
	  InputData data = {0,0,0,1,1};
	  CtrlTsk_Data CtrlTsk_data;
	  IMUData      *imu      = &CtrlTsk_data.imu;
	  EncoderData  *enc      = &CtrlTsk_data.encoders;
	  Errors       *err      = &CtrlTsk_data.error;
	  TimeState    *ts       = &CtrlTsk_data.time;
	  OdomData     *odom     = &CtrlTsk_data.odom;
	  CtrlOutData  *ctrl_out = &CtrlTsk_data.ctrl;

	  imu->yaw = 0.0;  imu->roll = 0.0;  imu->pitch = 0.0;

	  for (int i = 0; i < 4; i++) {
	      enc->cnt_vals[i] = 0;  enc->angleVals[i] = 0.0f;  enc->omegaVals[i] = 0.0;
	  }

	  err->err_x = 0.0;  err->err_y = 0.0;  err->err_phi = 0.0;
	  for (int i = 0; i < 4; i++) {
	      err->u_errs[i] = 0.0;
	  }
	  ts->current = 1;  ts->previous = 0;  ts->delta = osKernelGetTickCount();  ts->print_prev = 1;

	  odom->x_pos = 0.0;  odom->y_pos = 0.0;  odom->phi = 0.0;

	  ctrl_out->x_dot = 4.0;  ctrl_out->y_dot = 6.0;  ctrl_out->phi_dot = 0.0;

	  for (int i = 0; i < 4; i++) {
	      ctrl_out->PWM_vals[i] = 0.0;  ctrl_out->dutyCycles[i] = 0;  ctrl_out->M_dirs[i] = 0;
	  }

	  PIDConfig kpids = {
	  	.x_pid = {0.0f, 0.0f, 0.0f},
	  	.y_pid = {0.0f, 0.0f, 0.0f},
	  	.phi_pid = {0.0f, 0.0f, 0.0f},
	  	.u_pid = {
	  		{0.0f, 0.0f, 0.0f},
	  		{0.0f, 0.0f, 0.0f},
	  		{0.0f, 0.0f, 0.0f},
	  		{0.0f, 0.0f, 0.0f}
	  	}
	    };

	    PIDGains *xPID_K   = &kpids.x_pid;
	    PIDGains *yPID_K   = &kpids.y_pid;
	    PIDGains *phiPID_K = &kpids.phi_pid;
	    PIDGains *uPID_K   = kpids.u_pid;

//	    printf("alive\r\n");

  /* Infinite loop */
  for(;;)
  {
	osDelay(1);
	osMessageQueueGet(UART_QueueHandle, &data, NULL, osWaitForever);
	osMessageQueueGet(kpids_UART_TX_QueueHandle, &kpids, NULL, osWaitForever);
	osMessageQueueGet(CtrlTsk_QueueHandle, &CtrlTsk_data, NULL, osWaitForever);
	// ~60 variables sent
	printf("x_desired=%lf,y_desired=%lf,phi_desired=%lf,d=%lf,r=%lf,"
			"roll=%lf,pitch=%lf,yaw=%lf,"
			"TIM1=%d,TIM2=%d,TIM4=%d,TIM8=%d,"
			"Enc_Wheel_Omega1=%.6f,Enc_Wheel_Omega2=%.6f,Enc_Wheel_Omega3=%.6f,Enc_Wheel_Omega4=%.6f,"
			"Inertial_ang_vel_calc=%.6f,Inertial_x_vel_calc=%.6f,Inertial_y_vel_calc=%.6f,"
			"ODOM_phi=%.3f,ODOM_x_pos=%.3f,ODOM_y_pos=%.3f,ODOM_Err_x=%0.3lf,ODOM_Err_y=%0.3lf,ODOM_Err_phi=%0.3lf,"
			"U_Err_1=%0.3lf,U_Err_2=%0.3lf,U_Err_3=%0.3lf,U_Err_4=%0.3lf,"
			"Ctrl_Inertial_x_dot=%.3f,Ctrl_Inertial_y_dot=%.3f,Ctrl_Inertial_phi_dot=%.3f,Ctrl_necc_u1=%.3f,Ctrl_necc_u2=%.3f,Ctrl_necc_u3=%.3f,Ctrl_necc_u4=%.3f,"
			"ts_current=%lu,ts_previous=%lu,ts_delta=%lu,"
			"Ctrl_duty_u1=%u,Ctrl_duty_u2=%u,Ctrl_duty_u3=%u,Ctrl_duty_u4=%u,"
			"xKp=%.3f,xKi=%.3f,xKd=%.3f,"
			"yKp=%.3f,yKi=%.3f,yKd=%.3f,"
			"phiKp=%.3f,phiKi=%.3f,phiKd=%.3f,"
			"u0Kp=%.3f,u0Ki=%.3f,u0Kd=%.3f,"
			"u1Kp=%.3f,u1Ki=%.3f,u1Kd=%.3f,"
			"u2Kp=%.3f,u2Ki=%.3f,u2Kd=%.3f,"
			"u3Kp=%.3f,u3Ki=%.3f,u3Kd=%.3f\r\n",
			data.x_desired, data.y_desired, data.phi_end, data.d, data.r,
			imu->roll, imu->pitch, imu->yaw,
			enc->cnt_vals[0], enc->cnt_vals[1], enc->cnt_vals[2], enc->cnt_vals[3],
			enc->omegaVals[0], enc->omegaVals[1], enc->omegaVals[2], enc->omegaVals[3],
			odom->q_dot[0],odom->q_dot[1],odom->q_dot[2], odom->phi,odom->x_pos,odom->y_pos, err->err_x,
			err->err_y, err->err_phi,
			err->u_errs[0],err->u_errs[1],err->u_errs[2],err->u_errs[3],
			ctrl_out->x_dot, ctrl_out->y_dot, ctrl_out->phi_dot, ctrl_out->u[0], ctrl_out->u[1], ctrl_out->u[2], ctrl_out->u[3],
			ts->current, ts->print_prev, ts->delta,
			ctrl_out->dutyCycles[0], ctrl_out->dutyCycles[1], ctrl_out->dutyCycles[2], ctrl_out->dutyCycles[3],
			xPID_K->Kp, xPID_K->Ki, xPID_K->Kd,
			yPID_K->Kp, yPID_K->Ki, yPID_K->Kd,
			phiPID_K->Kp, phiPID_K->Ki, phiPID_K->Kd,
			uPID_K[0].Kp, uPID_K[0].Ki, uPID_K[0].Kd,
			uPID_K[1].Kp, uPID_K[1].Ki, uPID_K[1].Kd,
			uPID_K[2].Kp, uPID_K[2].Ki, uPID_K[2].Kd,
			uPID_K[3].Kp, uPID_K[3].Ki, uPID_K[3].Kd);

    osDelay(9);
  }
  /* USER CODE END Start_UART_TX_Task */
}

void StartControlTask(void *argument)
{
  bno055_assignI2C(&hi2c1);
  bno055_setup();
  bno055_setOperationModeNDOF();
  /* USER CODE BEGIN StartControlTask */
  int16_t deltaEncCounts[4] = {0,0,0,0};

  float PI = 3.141592;

//  const float R_counts = 17380.0; // MOTORES GRANDES
  const float R_counts = 424.0; // MOTORES CHICOS
  const float Degs_per_count = 360.0 / R_counts;
  const float Rads_per_count = 2*PI / R_counts;

  double u_err_trshld = 0.1;

//  float PID_K_oneM[3] = {0.5,0.003,0.0};
//  float xPID_K[3] = {0.5,0.003,0.0};
//  float yPID_K[3] = {0.5,0.003,0.0};
//  float phiPID_K[3] = {0.5,0.003,0.0};
//  float uPID_K[4][3] = {{1,0,0},{1,0,0},{1,0,0},{0,0,0}};

//  for (int i = 0; i < 4; i++) {
//	  for (int j = 0; j < 3; j++) {
//		  uPID_K[i][j] = PID_K_oneM[j];
//	  }
//  }

  float xTrshld = 0.01; // Allowed error cm
  float yTrshld = 0.01; // Allowed error cm
  float phiTrshld = 0.01; // Allowed error radians

  double sumKI_x = 0;
  double sumKI_y = 0;
  double sumKI_phi = 0;
  double sumKI_u_errs[4] = {0,0,0,0};

  double dt = 0;

  bno055_vector_t BNO055_EulerVector = bno055_getVectorEuler();

  int16_t deadzone_duty_lim = 1000;
  int16_t max_duty_cycle = 19999;

  InputData data = {0,0,0,1,1,0,0,0,0};
  CtrlTsk_Data CtrlTsk_data;
  IMUData      *imu      = &CtrlTsk_data.imu;
  EncoderData  *enc      = &CtrlTsk_data.encoders;
  Errors       *err      = &CtrlTsk_data.error;
  TimeState    *ts       = &CtrlTsk_data.time;
  OdomData     *odom     = &CtrlTsk_data.odom;
  CtrlOutData  *ctrl_out = &CtrlTsk_data.ctrl;

  PIDConfig kpids = {
	.x_pid = {0.0f, 0.0f, 0.0f},
	.y_pid = {0.0f, 0.0f, 0.0f},
	.phi_pid = {0.0f, 0.0f, 0.0f},
	.u_pid = {
		{0.0f, 0.0f, 0.0f},
		{0.0f, 0.0f, 0.0f},
		{0.0f, 0.0f, 0.0f},
		{0.0f, 0.0f, 0.0f}
	}
  };

  PIDGains *xPID_K   = &kpids.x_pid;
  PIDGains *yPID_K   = &kpids.y_pid;
  PIDGains *phiPID_K = &kpids.phi_pid;
  PIDGains *uPID_K   = kpids.u_pid;

  imu->yaw = 0.0;  imu->roll = 0.0;  imu->pitch = 0.0;

  for (int i = 0; i < 4; i++) {
      enc->cnt_vals[i] = 0;  enc->prevcnt_vals[i] = 0;  enc->angleVals[i] = 0.0f;  enc->omegaVals[i] = 0.0;
  }

  err->err_x = 0.0;  err->err_y = 0.0;  err->err_phi = 0.0;
  for (int i = 0; i < 4; i++) {
	  err->u_errs[i] = 0.0;
  }
  ts->current = 1;  ts->previous = 0;  ts->delta = osKernelGetTickCount();  ts->print_prev = 1;

  odom->x_pos = 0.0;  odom->y_pos = 0.0;  odom->phi = 0.0; odom->q_dot[0] = 0; odom->q_dot[1] = 0; odom->q_dot[2] = 0;

  ctrl_out->x_dot = 4.0;  ctrl_out->y_dot = 6.0;  ctrl_out->phi_dot = 0.0;

  for (int i = 0; i < 4; i++) {
      ctrl_out->PWM_vals[i] = 0.0;  ctrl_out->dutyCycles[i] = 0;  ctrl_out->M_dirs[i] = 0;  ctrl_out->u[i] = 0.0;
  }

  osStatus_t queue_status;

  bool simulation_on = false;

  bool velocity_ctrl_mode = true;

  double max_integral_action_val = 999999999999999;

  float tau = 0.05; //Low pass filter time constant (time it takes to reach 63.2% of the new velocity reading value
  float alpha = 0.0; // Low pass filter alpha value = dt / (tau + dt)

  /* Infinite loop */
  for(;;)
  {

    osDelay(10);

/*------------------------------------------------------------------------*/
/******* 1. Get angular position and velocity with encoders & IMU *********/
    if (!simulation_on) {
		enc->cnt_vals[0] = TIM1->CNT; enc->cnt_vals[1] = TIM4->CNT; enc->cnt_vals[2] = TIM8->CNT; enc->cnt_vals[3] = TIM2->CNT;

		BNO055_EulerVector = bno055_getVectorEuler();
		imu->yaw = BNO055_EulerVector.x;  imu->roll = BNO055_EulerVector.y;  imu->pitch = BNO055_EulerVector.z;

		for (int i = 0; i < 4; i++) {
		    // Calculate counter difference considering wrap-around
		    deltaEncCounts[i] = computeDeltaCNT(enc->cnt_vals[i], enc->prevcnt_vals[i]);

		    // Save current count for next iteration
		    enc->prevcnt_vals[i] = enc->cnt_vals[i];

		    // Update total angle value
		    enc->angleVals[i] += deltaEncCounts[i] * Degs_per_count;
		}

		// Calculate velocities
		ts->print_prev = ts->previous;
		ts->current = osKernelGetTickCount();
		ts->delta = ts->current - ts->previous;
		ts->previous = ts->current;
		dt = ts->delta / 1000.0f;  // Convert ms to seconds
		//	printf(" currentTime: %lu prevTime: %lu deltaTime: %lu", currentTime, prevTime, deltaTime);

		//******* GET VELOCITIES WITH FIRST ORDER FILTER****//
		alpha = dt / (tau + dt);
		for (uint8_t i = 0; i < 4; i++){
			double rawRPM = (deltaEncCounts[i] * Rads_per_count /  (ts->delta / 1000.0f) / (2*PI));
			enc->omegaVals[i] = alpha * rawRPM + (1.0 - alpha) * enc->omegaVals[i];
		}

    } else {
		BNO055_EulerVector = bno055_getVectorEuler();
		imu->yaw = BNO055_EulerVector.x;  imu->roll = BNO055_EulerVector.y;  imu->pitch = BNO055_EulerVector.z;

    	ts->print_prev = ts->previous;
		ts->current = osKernelGetTickCount();
		ts->delta = ts->current - ts->previous;
		ts->previous = ts->current;

		// Simple first-order simulation model: omega approaches u with time
		float tau_2 = 0.1f;  // time constant for motor response
		float alpha_2 = ts->delta / (1000.0f * tau_2 + ts->delta);  // convert delta to seconds

    	for (int i = 0; i < 4; i++) {
    	    enc->omegaVals[i] = (1 - alpha_2) * enc->omegaVals[i] + alpha_2 * ctrl_out->u[i];

    	    // Update total angle by integrating omega
    	    float dt_2 = ts->delta / 1000.0f;  // ms to s
    	    enc->angleVals[i] += enc->omegaVals[i] * dt_2;

    	    // Simulate counts from angle
    	    enc->cnt_vals[i] = (uint16_t)(enc->angleVals[i] / Degs_per_count) % 65536;
    	    deltaEncCounts[i] = computeDeltaCNT(enc->cnt_vals[i], enc->prevcnt_vals[i]);
    	    enc->prevcnt_vals[i] = enc->cnt_vals[i];
    	}
    }
/***************************************************************************/
/*------------------------------------------------------------------------*/

/*------------------------------------------------------------------------*/
/**************** 2. Receive desired pose/pidKs from UART *****************/

	osMessageQueueGet(UART2CtrlTsk_QueueHandle, &data, NULL, osWaitForever);
	osMessageQueueGet(UART2KPIDs_QueueHandle, &kpids, NULL, osWaitForever);

/**************************************************************************/
/*------------------------------------------------------------------------*/

/*------------------------------------------------------------------------*/
/************************** 3. Compute errors *****************************/
	err->err_x = data.x_desired - odom->x_pos;
	err->err_y = data.y_desired - odom->y_pos;
	//phi_desired = atan2(Err_y, Err_x); /*<-- Unnecessary? ony for diff drive?*/

	/* POTENTIALLY READ IMU HERE (TO UPDATE PHI)*/
	err->err_phi = data.phi_end - odom->phi;
//	printf("Err_x: %0.3lf  Err_y: %0.3lf  Err_phi: %0.3lf \n", Err_x, Err_y, Err_phi);
/**************************************************************************/
/*------------------------------------------------------------------------*/

/*------------------------------------------------------------------------*/
/***************************** 4. POSE PIDs *******************************/
	if (!velocity_ctrl_mode) {

		if (abs(err->err_x) > xTrshld){
			sumKI_x += err->err_x * ts->delta;
			ctrl_out->x_dot = xPID_K->Kp*err->err_x + xPID_K->Ki*sumKI_x + xPID_K->Kd * (err->err_x / ts->delta);
			ctrl_out->phi_dot = 0;
		}

		if (abs(err->err_y) > yTrshld){
			sumKI_y += err->err_y * ts->delta;
			ctrl_out->y_dot = yPID_K->Kp*err->err_y + yPID_K->Ki*sumKI_y + yPID_K->Kd * (err->err_y / ts->delta);
			ctrl_out->phi_dot = 0;
		}

		if (abs(err->err_x) <= xTrshld && abs(err->err_y) <= yTrshld) {
			ctrl_out->x_dot = 0;
			ctrl_out->y_dot = 0;

			if (abs(err->err_phi) > phiTrshld){
				sumKI_phi += err->err_phi * ts->delta;
				ctrl_out->phi_dot = phiPID_K->Kp*err->err_phi + phiPID_K->Ki*sumKI_phi + phiPID_K->Kd * (err->err_phi / ts->delta);
			}
		}

		if (abs(err->err_x) <= xTrshld && abs(err->err_y) <= yTrshld && abs(err->err_phi) <= phiTrshld){

			ctrl_out->x_dot = 0;
			ctrl_out->y_dot = 0;
			ctrl_out->phi_dot = 0;
			sumKI_x = 0; sumKI_y = 0; sumKI_phi = 0;
		}

	//	printf("Calling computeWheelSpeeds(phi=%.2f, d=%.2f, r=%.2f, phi_dot=%.2f, y_dot=%.2f, x_dot=%.2f)\r\n",
	//	       0.0, 1.0, 1.0, 0.0, 3.0, 6.0);

	//	computeNecessaryWheelSpeeds(0.0, data.d, data.r, ctrl_out->u, 0.0, 3.0, 6.0);
		computeNecessaryWheelSpeeds(odom->phi, data.d, data.r, ctrl_out->u, ctrl_out->phi_dot, ctrl_out->y_dot, ctrl_out->x_dot);

	}
	else {
		ctrl_out->u[0] = data.u1_desired;
		ctrl_out->u[1] = data.u2_desired;
		ctrl_out->u[2] = data.u3_desired;
		ctrl_out->u[3] = data.u4_desired;
	}

/**************************************************************************/
/*------------------------------------------------------------------------*/

/*------------------------------------------------------------------------*/
/***************************** 6. MOTOR PIDs *******************************/

	for (int i = 0; i < 4; i++) {

		err->u_errs[i] = ctrl_out->u[i] - enc->omegaVals[i];
		sumKI_u_errs[i] += err->u_errs[i] * ts->delta;
		if (sumKI_u_errs[i] > max_integral_action_val) sumKI_u_errs[i] = max_integral_action_val;
		if (sumKI_u_errs[i] < -max_integral_action_val) sumKI_u_errs[i] = -max_integral_action_val;

		ctrl_out->PWM_vals[i] = uPID_K[i].Kp*err->u_errs[i] + uPID_K[i].Ki*sumKI_u_errs[i] + uPID_K[i].Kd * (err->u_errs[i] / ts->delta);

//		if (abs(err->u_errs[i]) < u_err_trshld){
//			sumKI_u_errs[i] = 0; // Reset Integral part if error small
//		}

		if (ctrl_out->u[i] < 0.005 && ctrl_out->u[i] > -0.005) {
			ctrl_out->PWM_vals[i] = 0;
			ctrl_out->dutyCycles[i] = (uint16_t)0;
		}
		else {
			if (ctrl_out->PWM_vals[i] < 0){
				ctrl_out->M_dirs[i] = 1;
				if (ctrl_out->PWM_vals[i] < 0 && ctrl_out->PWM_vals[i] > - deadzone_duty_lim) ctrl_out->PWM_vals[i] = -deadzone_duty_lim;
				else if (ctrl_out->PWM_vals[i] < -max_duty_cycle) ctrl_out->PWM_vals[i] = -max_duty_cycle;
				ctrl_out->dutyCycles[i] = (uint16_t)(ctrl_out->PWM_vals[i]*-1);
			}
			else if (ctrl_out->PWM_vals[i] >= 0){
				ctrl_out->M_dirs[i] = 0;
				if (ctrl_out->PWM_vals[i] > 0 && ctrl_out->PWM_vals[i] < deadzone_duty_lim) ctrl_out->PWM_vals[i] = deadzone_duty_lim;
				else if (ctrl_out->PWM_vals[i] > max_duty_cycle) ctrl_out->PWM_vals[i] = max_duty_cycle;
				ctrl_out->dutyCycles[i] = (uint16_t)(ctrl_out->PWM_vals[i]);
			}
		}
	}

	setMotorDirection(GPIOD, 4, 5, ctrl_out->M_dirs[0]);
	setMotorDirection(GPIOD, 6, 7, ctrl_out->M_dirs[1]);
	setMotorDirection(GPIOE, 2, 4, ctrl_out->M_dirs[2]);
	setMotorDirection(GPIOE, 3, 6, ctrl_out->M_dirs[3]);

	__HAL_TIM_SET_COMPARE(&htim5 , TIM_CHANNEL_1, ctrl_out->dutyCycles[0]);  // Set duty cycle
	__HAL_TIM_SET_COMPARE(&htim12, TIM_CHANNEL_1, ctrl_out->dutyCycles[1]);  // Set duty cycle
	__HAL_TIM_SET_COMPARE(&htim14, TIM_CHANNEL_1, ctrl_out->dutyCycles[2]);  // Set duty cycle
	__HAL_TIM_SET_COMPARE(&htim15, TIM_CHANNEL_1, ctrl_out->dutyCycles[3]);  // Set duty cycle

/**************************************************************************/
/*------------------------------------------------------------------------*/

/*------------------------------------------------------------------------*/
/***************************** 7. ODOMETRY ********************************/

	globalSpeedsFromU(odom->phi, data.d, data.r, enc->omegaVals, odom->q_dot); // q_dot = {phi_dot, x_dot, y_dot}
//	globalSpeedsFromU(odom->phi, data.d, data.r, ctrl_out->u, odom->q_dot); // q_dot = {phi_dot, x_dot, y_dot}

	odom->phi    += odom->q_dot[0] * dt;         // Integrated angular velocity
	odom->x_pos  += odom->q_dot[1] * dt;         // Integrated x velocity (global)
	odom->y_pos  += odom->q_dot[2] * dt;         // Integrated y velocity (global)

	odom->phi = (odom->phi > PI) ? (odom->phi - 2 * PI) : (odom->phi < -PI) ? (odom->phi + 2 * PI) : odom->phi; // 0 <= phi < 2PI

	/*ADD FIRST ORDER FILTER?*/
//	q_dot_filtered[i] = alpha * q_dot[i] + (1 - alpha) * q_dot_filtered[i]; // for i = 0 to 2

/**************************************************************************/
/*------------------------------------------------------------------------*/

/*------------------------------------------------------------------------*/
/************************ 8. SEND RELEVANT DATA ***************************/

//
//	printf(" currentTime: %lu prevTime: %lu deltaTime: %lu 	dt: %0.9lf     ", currentTime, printf_prevTime, deltaTime, dt);
//

	queue_status = osMessageQueuePut(CtrlTsk_QueueHandle, &CtrlTsk_data, 0, 0);

	if (queue_status != osOK) {
	    printf("❌ Failed to enqueue message! Error code: %d\r\n", queue_status);
	}
  }
  /* USER CODE END StartControlTask */
}

void HAL_TIM_PeriodElapsedCallback(TIM_HandleTypeDef *htim)
{
  if (htim->Instance == TIM6) {
    HAL_IncTick();
  }
}

void Error_Handler(void)
{
  __disable_irq();
  while (1)
  {
  }
}
